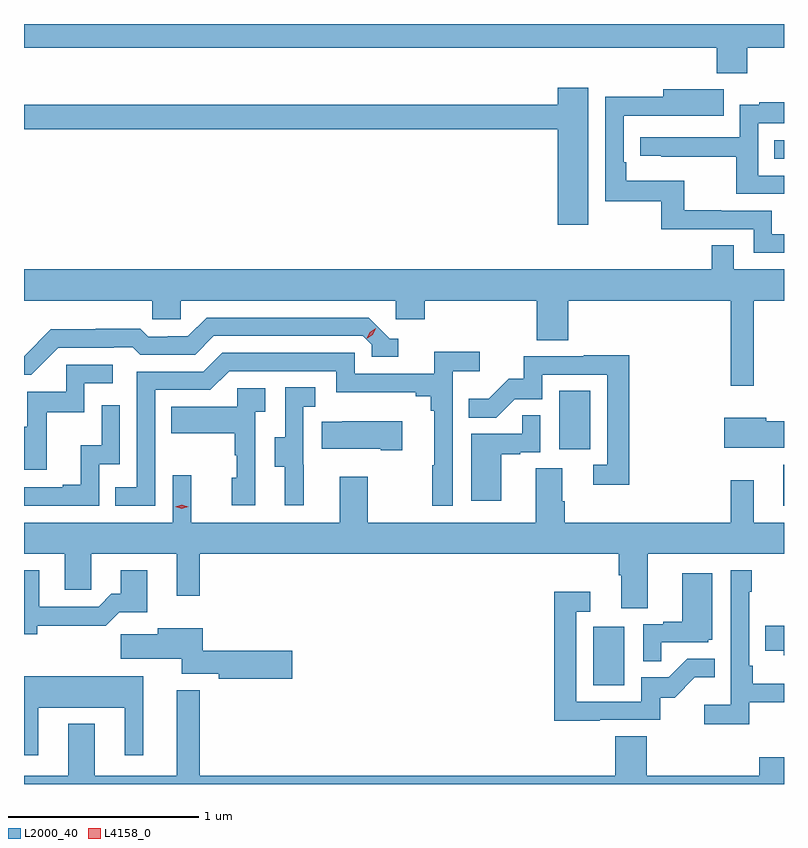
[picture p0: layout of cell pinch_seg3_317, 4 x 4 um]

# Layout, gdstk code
import gdstk
lib = gdstk.Library(unit=1e-6, precision=1e-09)
def R(c, l, rs):  # rectangles x0, y0, x1, y1
    for r in rs: c.add(gdstk.rectangle(r[:2], r[2:], *l))
def P(c, l, *ps):  # polygons
    for p in ps: c.add(gdstk.Polygon(p, *l))
L2000_40 = (2000, 40)
L4158_0 = (4158, 0)

pinch_seg3_317 = lib.new_cell('pinch_seg3_317')
R(pinch_seg3_317, L2000_40, [(998.264,714.876,998.428,715.183), (999.263,715.821,999.268,716.037), (998.084,716.118,998.248,716.425), (999.217,717.648,999.268,717.744)])
P(pinch_seg3_317, L2000_40, [(999.075,718.232),(999.268,718.232),(999.268,718.356),(995.268,718.356),(995.268,718.232),(998.915,718.232),(998.915,718.097),(999.075,718.097)],
  [(998.239,718.021),(998.078,718.021),(998.078,717.931),(995.268,717.931),(995.268,717.802),(998.078,717.802),(998.078,717.3),(998.239,717.3)],
  [(999.268,717.249),(999.204,717.249),(999.204,717.372),(998.939,717.372),(998.939,717.377),(998.743,717.377),(998.743,717.532),(998.438,717.532),(998.438,717.628),(998.424,717.628),(998.424,717.873),(998.737,717.873),(998.737,717.872),(998.951,717.872),(998.951,718.012),(998.633,718.012),(998.633,717.974),(998.328,717.974),(998.328,717.423),(998.622,717.423),(998.622,717.276),(999.108,717.276),(999.108,717.153),(999.268,717.153)],
  [(999.268,717.558),(999.132,717.558),(999.132,717.834),(999.268,717.834),(999.268,717.943),(999.139,717.943),(999.139,717.931),(999.036,717.931),(999.036,717.759),(998.511,717.759),(998.511,717.663),(998.623,717.663),(998.623,717.658),(999.016,717.658),(999.016,717.462),(999.268,717.462)],
  [(999.109,716.9),(999.268,716.9),(999.268,717.064),(999.003,717.064),(999.003,717.191),(998.887,717.191),(998.887,717.064),(995.268,717.064),(995.268,716.9),(995.943,716.9),(995.943,716.802),(996.093,716.802),(996.093,716.9),(997.224,716.9),(997.224,716.802),(997.376,716.802),(997.376,716.9),(997.967,716.9),(997.967,716.692),(998.132,716.692),(998.132,716.9),(998.988,716.9),(998.988,716.451),(999.109,716.451)],
  [(995.448,716.652),(995.741,716.652),(995.741,716.655),(995.84,716.655),(995.879,716.616),(996.168,716.616),(996.267,716.715),(997.05,716.715),(997.098,716.667),(997.098,716.604),(997.237,716.604),(997.237,716.7),(997.194,716.7),(997.083,716.811),(996.23,716.811),(996.131,716.712),(996.024,716.712),(996.024,716.709),(995.921,716.709),(995.879,716.752),(995.646,716.752),(995.646,716.749),(995.41,716.749),(995.268,716.607),(995.268,716.511),(995.307,716.511)],
  [(995.958,716.43),(996.249,716.43),(996.348,716.529),(996.912,716.529),(996.912,716.417),(997.331,716.417),(997.331,716.398),(997.408,716.398),(997.408,716.321),(997.427,716.321),(997.427,716.033),(997.416,716.033),(997.416,715.821),(997.524,715.821),(997.524,716.528),(997.666,716.528),(997.666,716.63),(997.427,716.63),(997.427,716.514),(997.008,716.514),(997.008,716.625),(996.311,716.625),(996.212,716.526),(995.862,716.526),(995.862,715.917),(995.749,715.917),(995.749,715.821),(995.958,715.821)],
  [(998.453,716.612),(998.215,716.612),(998.215,716.607),(997.897,716.607),(997.897,716.49),(997.82,716.49),(997.713,716.383),(997.609,716.383),(997.609,716.284),(997.753,716.284),(997.851,716.382),(997.995,716.382),(997.995,716.511),(998.337,716.511),(998.337,716.037),(998.265,716.037),(998.265,715.932),(998.453,715.932)],
  [(995.387,716.313),(995.586,716.313),(995.586,716.466),(995.734,716.466),(995.734,716.562),(995.49,716.562),(995.49,716.421),(995.285,716.421),(995.285,716.235),(995.268,716.235),(995.268,716.01),(995.387,716.01)],
  [(996.74,716.037),(996.738,716.037),(996.738,716.341),(996.802,716.341),(996.802,716.444),(996.642,716.444),(996.642,716.181),(996.587,716.181),(996.587,716.026),(996.641,716.026),(996.641,715.824),(996.74,715.824)],
  [(996.486,716.315),(996.538,716.315),(996.538,716.439),(996.39,716.439),(996.39,716.341),(996.043,716.341),(996.043,716.201),(996.378,716.201),(996.378,716.087),(996.388,716.087),(996.388,715.968),(996.362,715.968),(996.362,715.824),(996.486,715.824)],
  [(995.664,716.04),(995.772,716.04),(995.772,716.35),(995.676,716.35),(995.676,716.138),(995.567,716.138),(995.567,715.93),(995.471,715.93),(995.471,715.917),(995.268,715.917),(995.268,715.821),(995.664,715.821)],
  [(997.78,716.091),(997.88,716.091),(997.88,716.103),(997.986,716.103),(997.986,716.297),(997.891,716.297),(997.891,716.199),(997.622,716.199),(997.622,715.848),(997.78,715.848)],
  [(999.268,716.266),(999.174,716.266),(999.174,716.284),(998.954,716.284),(998.954,716.126),(999.268,716.126)],
  [(997.258,716.266),(996.943,716.266),(996.943,716.263),(996.835,716.263),(996.835,716.12),(997.145,716.12),(997.145,716.113),(997.258,716.113)],
  [(998.551,715.568),(999.268,715.568),(999.268,715.732),(999.109,715.732),(999.109,715.954),(998.988,715.954),(998.988,715.732),(998.114,715.732),(998.114,715.844),(998.101,715.844),(998.101,716.018),(997.961,716.018),(997.961,715.732),(997.077,715.732),(997.077,715.972),(996.929,715.972),(996.929,715.732),(996.149,715.732),(996.149,715.981),(996.051,715.981),(996.051,715.732),(995.268,715.732),(995.268,715.568),(995.483,715.568),(995.483,715.378),(995.622,715.378),(995.622,715.568),(996.071,715.568),(996.071,715.347),(996.193,715.347),(996.193,715.568),(998.399,715.568),(998.399,715.456),(998.411,715.456),(998.411,715.282),(998.551,715.282)],
  [(995.338,715.19),(995.699,715.19),(995.768,715.259),(995.917,715.259),(995.917,715.48),(995.777,715.48),(995.777,715.357),(995.728,715.357),(995.661,715.29),(995.347,715.29),(995.347,715.48),(995.268,715.48),(995.268,715.145),(995.338,715.145)],
  [(999.086,714.786),(999.268,714.786),(999.268,714.883),(999.104,714.883),(999.104,714.979),(999.084,714.979),(999.084,715.367),(999.097,715.367),(999.097,715.48),(998.988,715.48),(998.988,714.772),(998.847,714.772),(998.847,714.67),(999.086,714.67)],
  [(998.621,715.101),(998.868,715.101),(998.868,715.116),(998.89,715.116),(998.89,715.465),(998.732,715.465),(998.732,715.21),(998.633,715.21),(998.633,715.197),(998.526,715.197),(998.526,715.003),(998.621,715.003)],
  [(998.297,714.693),(998.616,714.693),(998.616,714.81),(998.692,714.81),(998.799,714.917),(998.903,714.917),(998.903,715.016),(998.759,715.016),(998.661,714.918),(998.517,714.918),(998.517,714.789),(998.175,714.789),(998.175,715.263),(998.248,715.263),(998.248,715.369),(998.059,715.369),(998.059,714.688),(998.297,714.688)],
  [(999.268,715.188),(999.169,715.188),(999.169,715.058),(999.267,715.058),(999.267,715.034),(999.268,715.034)],
  [(996.679,715.058),(996.208,715.058),(996.208,715.177),(995.972,715.177),(995.972,715.145),(995.778,715.145),(995.778,715.016),(996.098,715.016),(996.098,714.935),(996.294,714.935),(996.294,714.911),(996.679,714.911)],
  [(995.344,714.758),(995.798,714.758),(995.798,714.507),(995.896,714.507),(995.896,714.922),(995.268,714.922),(995.268,714.507),(995.344,714.507)],
  [(999.268,714.498),(999.137,714.498),(999.137,714.4),(998.546,714.4),(998.546,714.608),(998.381,714.608),(998.381,714.4),(996.193,714.4),(996.193,714.85),(996.071,714.85),(996.071,714.4),(995.641,714.4),(995.641,714.673),(995.501,714.673),(995.501,714.4),(995.268,714.4),(995.268,714.356),(999.268,714.356)])
P(pinch_seg3_317, L4158_0, [(997.073,716.701),(997.073,716.702),(997.089,716.734),(997.12,716.754),(997.12,716.754),(997.12,716.754),(997.104,716.721),(997.074,716.701)],
  [(996.098,715.805),(996.063,715.815),(996.063,715.815),(996.063,715.816),(996.098,715.825),(996.133,715.816),(996.133,715.815),(996.133,715.815)])

lib.write_gds('pinch_seg3_317.gds')
